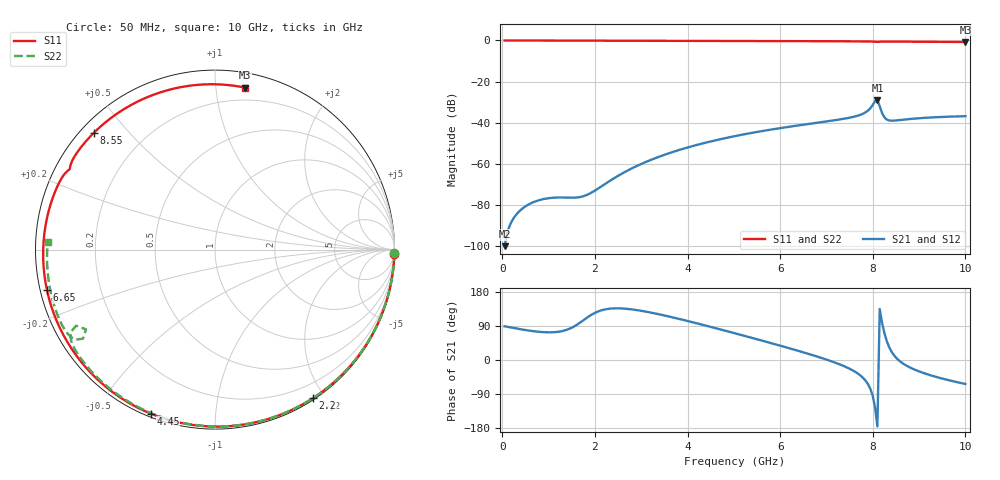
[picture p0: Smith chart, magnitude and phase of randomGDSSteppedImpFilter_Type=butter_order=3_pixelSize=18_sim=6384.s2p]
! freq	dB(S11)	phase(S11)	dB(S12)	phase(S12)
!  dB(S21)	phase(S21)	dB(S22)	phase(S22)
!S-par simulation data
#  GHz  S  DB  R 50
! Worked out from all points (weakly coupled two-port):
!   200 points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, 50 MHz to 10 GHz, reference 50 ohm
!   highest |S21| = -29.10 dB at 8.1 GHz (marker M1); lowest = -100.0 dB at 50 MHz (marker M2)
!   lowest |S11| = -0.7 dB at 10 GHz (marker M3), VSWR 23.34, Z = 5.24 + j60 ohm
!   |S11| at or under -10 dB: nowhere
!   |S22| runs from -1.5 to 0.0 dB; largest |S21 - S12| = 0
!   S11 on the Smith chart (normalised r, x): 50 MHz: 0, -86; 2.2 GHz: 0.02, -1.85; 4.45 GHz: 0.01, -0.68; 6.65 GHz: 0.02, -0.12; 8.55 GHz: 0.04, +0.40; 10 GHz: 0.10, +1.20
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0.05  -0.00 -1.3  -100.04 88.9  -100.04 88.9  -0.00 -1.0
0.55  -0.02 -14.4  -79.99 78.1  -79.99 78.1  -0.01 -11.3
0.85  -0.03 -22.2  -77.34 73.8  -77.34 73.8  -0.02 -17.4
1.75  -0.06 -45.3  -75.74 104.8  -75.74 104.8  -0.04 -35.5
2.2  -0.07 -56.7  -70.08 133.0  -70.08 133.0  -0.06 -44.4
2.75  -0.09 -70.3  -62.75 134.3  -62.75 134.3  -0.07 -55.0
3.4  -0.11 -86.2  -56.42 120.2  -56.42 120.2  -0.09 -67.2
4.45  -0.16 -111.4  -49.38 89.0  -49.38 89.0  -0.12 -86.4
5.05  -0.20 -125.9  -46.40 69.7  -46.40 69.7  -0.15 -96.9
5.9  -0.26 -146.9  -42.99 41.3  -42.99 41.3  -0.19 -111.6
6.65  -0.33 -166.4  -40.48 14.7  -40.48 14.7  -0.24 -124.4
6.7  -0.33 -167.8  -40.33 12.9  -40.33 12.9  -0.25 -125.2
7.7  -0.45 163.4  -36.40 -37.7  -36.40 -37.7  -0.35 -142.9
7.9  -0.49 157.0  -34.04 -64.4  -34.04 -64.4  -0.45 -147.3
8  -0.54 153.6  -31.36 -95.0  -31.36 -95.0  -0.69 -150.3
8.1  -0.68 151.0  -29.10 -175.3  -29.10 -175.3  -1.46 -148.3
8.15  -0.61 149.9  -31.98 134.6  -31.98 134.6  -1.04 -146.0
8.25  -0.55 146.4  -37.37 71.3  -37.37 71.3  -0.56 -148.6
8.35  -0.54 142.9  -38.89 35.0  -38.89 35.0  -0.47 -151.1
8.55  -0.56 135.9  -38.80 0.4  -38.80 0.4  -0.44 -155.3
9.35  -0.66 106.0  -37.34 -44.0  -37.34 -44.0  -0.52 -170.2
10  -0.74 79.4  -36.83 -63.2  -36.83 -63.2  -0.60 177.4
